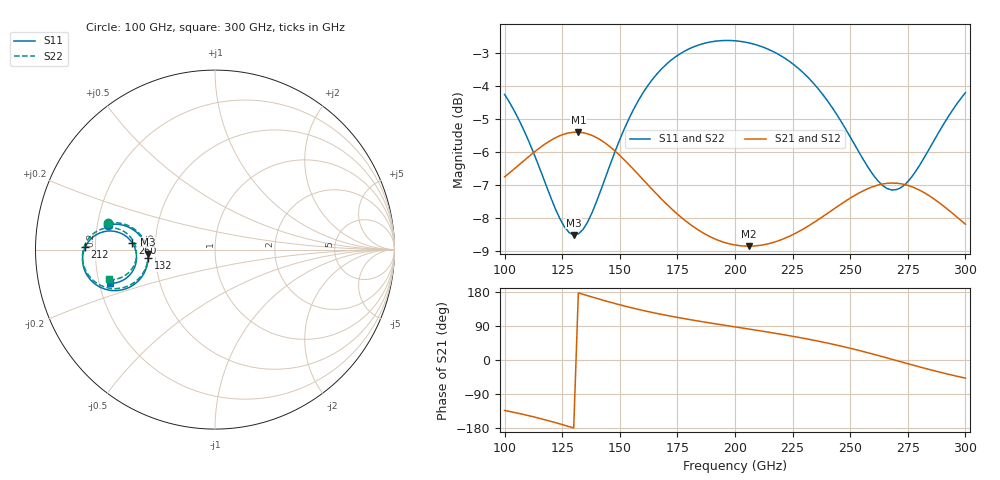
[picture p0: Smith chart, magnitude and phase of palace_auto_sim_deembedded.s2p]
! Created with skrf 1.11.0 (http://scikit-rf.org).
# GHz S DB R 50.0
!freq dBS11 angS11 dBS21 angS21 dBS12 angS12 dBS22 angS22
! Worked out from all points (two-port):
!   101 points, 100 GHz to 300 GHz, reference 50 ohm
!   highest |S21| = -5.40 dB at 132 GHz (marker M1); lowest = -8.9 dB at 206 GHz (marker M2)
!   |S21| within 3 dB of the highest: start of sweep to 184.7 GHz; 228.2 GHz to end of sweep
!   lowest |S11| = -8.5 dB at 130 GHz (marker M3), VSWR 2.20, Z = 22.8 - j1.28 ohm
!   |S11| at or under -10 dB: nowhere
!   |S22| runs from -8.5 to -2.6 dB; largest |S21 - S12| = 5.4e-14
!   S11 on the Smith chart (normalised r, x): 100 GHz: 0.24, +0.11; 132 GHz: 0.45, -0.05; 212 GHz: 0.16, +0.01; 260 GHz: 0.37, +0.03; 300 GHz: 0.24, -0.15
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100  -4.25 167.0  -6.76 -133.1  -6.76 -133.1  -4.25 166.3
108  -5.29 165.2  -6.29 -143.5  -6.29 -143.5  -5.29 164.4
114  -6.28 165.7  -5.94 -152.2  -5.94 -152.2  -6.29 164.9
122  -7.72 171.3  -5.57 -165.2  -5.57 -165.2  -7.73 170.4
130  -8.53 -176.3  -5.40 -179.3  -5.40 -179.3  -8.54 -177.3
132  -8.49 -172.7  -5.40 177.0  -5.40 177.0  -8.50 -173.6
134  -8.36 -169.2  -5.42 173.4  -5.42 173.4  -8.37 -170.1
142  -7.12 -159.1  -5.65 159.1  -5.65 159.1  -7.13 -160.2
150  -5.62 -156.2  -6.11 145.7  -6.11 145.7  -5.63 -157.3
158  -4.45 -157.6  -6.68 133.6  -6.68 133.6  -4.45 -158.7
168  -3.48 -161.6  -7.43 120.5  -7.43 120.5  -3.49 -162.8
184  -2.75 -169.0  -8.37 102.9  -8.37 102.9  -2.76 -170.3
200  -2.62 -176.1  -8.83 87.4  -8.83 87.4  -2.63 -177.5
206  -2.68 -178.6  -8.87 81.7  -8.87 81.7  -2.69 179.9
212  -2.81 179.0  -8.83 75.9  -8.83 75.9  -2.82 177.4
234  -3.91 171.3  -8.16 52.3  -8.16 52.3  -3.92 169.5
248  -5.30 169.9  -7.49 33.8  -7.49 33.8  -5.32 168.1
260  -6.70 175.4  -7.05 15.4  -7.05 15.4  -6.73 173.5
268  -7.16 -176.5  -6.95 2.1  -6.95 2.1  -7.19 -178.4
276  -6.82 -168.1  -7.04 -11.4  -7.04 -11.4  -6.86 -170.0
286  -5.70 -162.2  -7.41 -27.6  -7.41 -27.6  -5.72 -164.1
300  -4.20 -162.3  -8.20 -47.8  -8.20 -47.8  -4.21 -164.3
